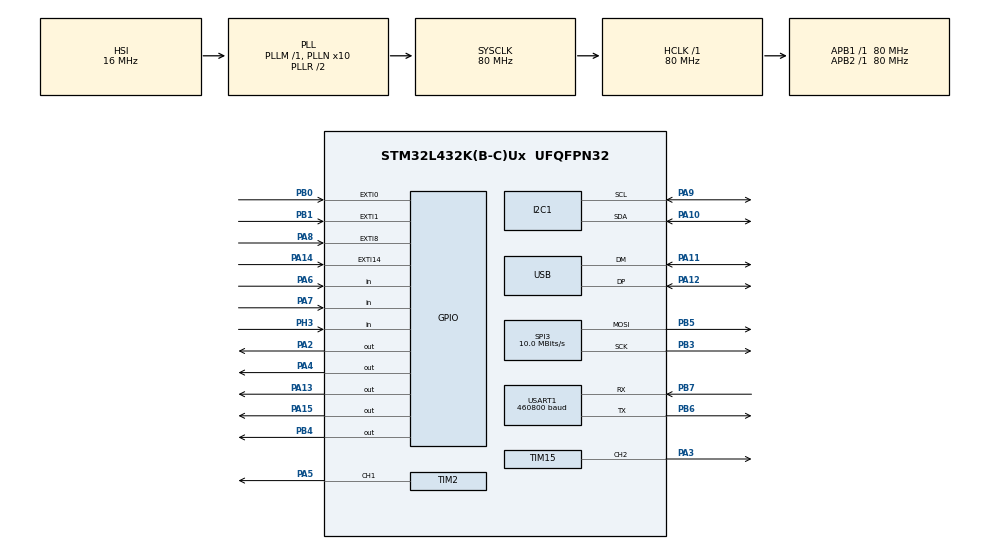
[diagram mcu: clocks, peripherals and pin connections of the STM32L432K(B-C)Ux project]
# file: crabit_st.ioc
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Dma.I2C1_RX.2.Direction=DMA_PERIPH_TO_MEMORY
Dma.I2C1_RX.2.Instance=DMA1_Channel7
Dma.I2C1_RX.2.MemDataAlignment=DMA_MDATAALIGN_BYTE
Dma.I2C1_RX.2.MemInc=DMA_MINC_ENABLE
Dma.I2C1_RX.2.Mode=DMA_NORMAL
Dma.I2C1_RX.2.PeriphDataAlignment=DMA_PDATAALIGN_BYTE
Dma.I2C1_RX.2.PeriphInc=DMA_PINC_DISABLE
Dma.I2C1_RX.2.Priority=DMA_PRIORITY_LOW
Dma.I2C1_TX.3.Direction=DMA_MEMORY_TO_PERIPH
Dma.I2C1_TX.3.Instance=DMA1_Channel6
Dma.I2C1_TX.3.MemDataAlignment=DMA_MDATAALIGN_BYTE
Dma.I2C1_TX.3.MemInc=DMA_MINC_ENABLE
Dma.I2C1_TX.3.Mode=DMA_NORMAL
Dma.I2C1_TX.3.PeriphDataAlignment=DMA_PDATAALIGN_BYTE
Dma.I2C1_TX.3.PeriphInc=DMA_PINC_DISABLE
Dma.I2C1_TX.3.Priority=DMA_PRIORITY_LOW
Dma.Request0=USART1_RX
Dma.Request1=USART1_TX
Dma.Request2=I2C1_RX
Dma.Request3=I2C1_TX
Dma.Request4=SPI3_TX
Dma.Request5=TIM2_CH1
Dma.SPI3_TX.4.Direction=DMA_MEMORY_TO_PERIPH
Dma.SPI3_TX.4.Instance=DMA2_Channel2
Dma.SPI3_TX.4.MemDataAlignment=DMA_MDATAALIGN_BYTE
Dma.SPI3_TX.4.MemInc=DMA_MINC_ENABLE
Dma.SPI3_TX.4.Mode=DMA_NORMAL
Dma.SPI3_TX.4.PeriphDataAlignment=DMA_PDATAALIGN_BYTE
Dma.SPI3_TX.4.PeriphInc=DMA_PINC_DISABLE
Dma.SPI3_TX.4.Priority=DMA_PRIORITY_LOW
Dma.TIM2_CH1.5.Direction=DMA_MEMORY_TO_PERIPH
Dma.TIM2_CH1.5.Instance=DMA1_Channel5
Dma.TIM2_CH1.5.MemDataAlignment=DMA_MDATAALIGN_WORD
Dma.TIM2_CH1.5.MemInc=DMA_MINC_ENABLE
Dma.TIM2_CH1.5.Mode=DMA_NORMAL
Dma.TIM2_CH1.5.PeriphDataAlignment=DMA_PDATAALIGN_WORD
Dma.TIM2_CH1.5.PeriphInc=DMA_PINC_DISABLE
Dma.TIM2_CH1.5.Priority=DMA_PRIORITY_LOW
Dma.USART1_RX.0.Direction=DMA_PERIPH_TO_MEMORY
Dma.USART1_RX.0.Instance=DMA2_Channel7
Dma.USART1_RX.0.MemDataAlignment=DMA_MDATAALIGN_BYTE
Dma.USART1_RX.0.MemInc=DMA_MINC_ENABLE
Dma.USART1_RX.0.Mode=DMA_CIRCULAR
Dma.USART1_RX.0.PeriphDataAlignment=DMA_PDATAALIGN_BYTE
Dma.USART1_RX.0.PeriphInc=DMA_PINC_DISABLE
Dma.USART1_RX.0.Priority=DMA_PRIORITY_LOW
Dma.USART1_TX.1.Direction=DMA_MEMORY_TO_PERIPH
Dma.USART1_TX.1.Instance=DMA1_Channel4
Dma.USART1_TX.1.MemDataAlignment=DMA_MDATAALIGN_BYTE
Dma.USART1_TX.1.MemInc=DMA_MINC_ENABLE
Dma.USART1_TX.1.Mode=DMA_NORMAL
Dma.USART1_TX.1.PeriphDataAlignment=DMA_PDATAALIGN_BYTE
Dma.USART1_TX.1.PeriphInc=DMA_PINC_DISABLE
Dma.USART1_TX.1.Priority=DMA_PRIORITY_LOW
FREERTOS.Tasks01=defaultTask,24,1024,StartDefaultTask,Default,NULL,Dynamic,NULL,NULL
FREERTOS.configTOTAL_HEAP_SIZE=40960
I2C1.Timing=0x10D19CE4
Mcu.Family=STM32L4
Mcu.Name=STM32L432K(B-C)Ux
Mcu.Package=UFQFPN32
NVIC.DMA1_Channel4_IRQn=true\:5\:0\:false\:false\:true\:true\:false\:true\:true
NVIC.DMA1_Channel5_IRQn=true\:5\:0\:false\:false\:true\:true\:false\:true\:true
NVIC.DMA1_Channel6_IRQn=true\:5\:0\:false\:false\:true\:true\:false\:true\:true
NVIC.DMA1_Channel7_IRQn=true\:5\:0\:false\:false\:true\:true\:false\:true\:true
NVIC.DMA2_Channel2_IRQn=true\:5\:0\:false\:false\:true\:true\:false\:true\:true
NVIC.DMA2_Channel7_IRQn=true\:5\:0\:false\:false\:true\:false\:false\:true\:true
NVIC.EXTI0_IRQn=true\:5\:0\:false\:false\:true\:true\:true\:true\:true
NVIC.EXTI1_IRQn=true\:5\:0\:false\:false\:true\:true\:true\:true\:true
NVIC.PriorityGroup=NVIC_PRIORITYGROUP_4
NVIC.SPI3_IRQn=true\:5\:0\:false\:false\:true\:true\:true\:true\:true
NVIC.TIM1_UP_TIM16_IRQn=true\:15\:0\:false\:false\:true\:false\:false\:true\:true
NVIC.TimeBase=TIM1_UP_TIM16_IRQn
NVIC.TimeBaseIP=TIM1
NVIC.USART1_IRQn=true\:5\:0\:false\:false\:true\:true\:true\:true\:true
NVIC.USB_IRQn=true\:5\:0\:false\:false\:true\:true\:false\:true\:true
PA10.GPIO_Pu=GPIO_PULLUP
PA10.Mode=I2C
PA10.Signal=I2C1_SDA
PA11.Mode=Device
PA11.Signal=USB_DM
PA12.Mode=Device
PA12.Signal=USB_DP
PA13\ (JTMS-SWDIO).PinState=GPIO_PIN_SET
PA13\ (JTMS-SWDIO).Signal=GPIO_Output
PA14\ (JTCK-SWCLK).Signal=GPXTI14
PA15\ (JTDI).GPIO_Speed=GPIO_SPEED_FREQ_HIGH
PA15\ (JTDI).Signal=GPIO_Output
PA2.PinState=GPIO_PIN_RESET
PA2.Signal=GPIO_Output
PA3.Signal=S_TIM15_CH2
PA4.PinState=GPIO_PIN_SET
PA4.Signal=GPIO_Output
PA5.Signal=S_TIM2_CH1
PA6.GPIO_PuPd=GPIO_PULLUP
PA6.Signal=GPIO_Input
PA7.GPIO_PuPd=GPIO_PULLUP
PA7.Signal=GPIO_Input
PA8.Signal=GPXTI8
PA9.GPIO_Pu=GPIO_PULLUP
PA9.Mode=I2C
PA9.Signal=I2C1_SCL
PB0.GPIO_PuPd=GPIO_PULLDOWN
PB0.Signal=GPXTI0
PB1.GPIO_PuPd=GPIO_PULLDOWN
PB1.Signal=GPXTI1
PB3\ (JTDO-TRACESWO).Mode=TX_Only_Simplex_Unidirect_Master
PB3\ (JTDO-TRACESWO).Signal=SPI3_SCK
PB4\ (NJTRST).GPIO_Speed=GPIO_SPEED_FREQ_HIGH
PB4\ (NJTRST).Signal=GPIO_Output
PB5.Mode=TX_Only_Simplex_Unidirect_Master
PB5.Signal=SPI3_MOSI
PB6.Mode=Asynchronous
PB6.Signal=USART1_TX
PB7.Mode=Asynchronous
PB7.Signal=USART1_RX
PC14-OSC32_IN\ (PC14).Mode=LSE-External-Oscillator
PC14-OSC32_IN\ (PC14).Signal=RCC_OSC32_IN
PC15-OSC32_OUT\ (PC15).Mode=LSE-External-Oscillator
PC15-OSC32_OUT\ (PC15).Signal=RCC_OSC32_OUT
PH3-BOOT0.GPIO_PuPd=GPIO_PULLDOWN
PH3-BOOT0.Signal=GPIO_Input
ProjectManager.HeapSize=0x200
ProjectManager.StackSize=0x400
ProjectManager.TargetToolchain=CMake
RCC.ADCCLockSelection=RCC_ADCCLKSOURCE_SYSCLK
RCC.ADCFreq_Value=80000000
RCC.AHBFreq_Value=80000000
RCC.APB1Freq_Value=80000000
RCC.APB1TimFreq_Value=80000000
RCC.APB2Freq_Value=80000000
RCC.APB2TimFreq_Value=80000000
RCC.CK48CLockSelection=RCC_USBCLKSOURCE_HSI48
RCC.CortexFreq_Value=80000000
RCC.HCLKFreq_Value=80000000
RCC.HSE_VALUE=8000000
RCC.HSI48_VALUE=48000000
RCC.HSI_VALUE=16000000
RCC.MSI_VALUE=4000000
RCC.PLLN=10
RCC.PLLSAI1N=10
RCC.PLLSourceVirtual=RCC_PLLSOURCE_HSI
RCC.SYSCLKFreq_VALUE=80000000
RCC.SYSCLKSource=RCC_SYSCLKSOURCE_PLLCLK
RCC.USBFreq_Value=48000000
RCC.VCOOutputFreq_Value=160000000
SH.S_TIM15_CH2.0=TIM15_CH2,PWM Generation2 CH2
SH.S_TIM2_CH1.0=TIM2_CH1,PWM Generation1 CH1
SPI3.BaudRatePrescaler=SPI_BAUDRATEPRESCALER_8
SPI3.CalculateBaudRate=10.0 MBits/s
SPI3.DataSize=SPI_DATASIZE_8BIT
SPI3.Direction=SPI_DIRECTION_2LINES
SPI3.Mode=SPI_MODE_MASTER
SPI3.VirtualType=VM_MASTER
TIM15.Channel-PWM\ Generation2\ CH2=TIM_CHANNEL_2
TIM15.Prescaler=79
TIM2.Channel-PWM\ Generation1\ CH1=TIM_CHANNEL_1
TIM2.Period=99
TIM2.Prescaler=0
USART1.BaudRate=460800
USART1.VirtualMode-Asynchronous=VM_ASYNC
USB_DEVICE.CLASS_NAME_FS=CDC
USB_DEVICE.VirtualMode=Cdc
USB_DEVICE.VirtualModeFS=Cdc_FS
VP_FREERTOS_VS_CMSIS_V2.Mode=CMSIS_V2
VP_RTC_VS_RTC_Activate.Mode=RTC_Enabled
VP_RTC_VS_RTC_Calendar.Mode=RTC_Calendar
VP_SYS_VS_tim1.Mode=TIM1
VP_TIM15_VS_ClockSourceINT.Mode=Internal
VP_TIM2_VS_ClockSourceINT.Mode=Internal
VP_USB_DEVICE_VS_USB_DEVICE_CDC_FS.Mode=CDC_FS
board=custom

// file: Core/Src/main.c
/* USER CODE BEGIN Header */
/**
  ******************************************************************************
  * @file           : main.c
  * @brief          : Main program body
  ******************************************************************************
  * @attention
  *
  * Copyright (c) 2026 STMicroelectronics.
  * All rights reserved.
  *
  * This software is licensed under terms that can be found in the LICENSE file
  * in the root directory of this software component.
  * If no LICENSE file comes with this software, it is provided AS-IS.
  *
  ******************************************************************************
  */
/* USER CODE END Header */
#include "main.h"
#include "cmsis_os.h"
#include "dma.h"
#include "i2c.h"
#include "rtc.h"
#include "spi.h"
#include "tim.h"
#include "usart.h"
#include "usb_device.h"
#include "gpio.h"

void SystemClock_Config(void);
void MX_FREERTOS_Init(void);

int main(void)
{

  /* MCU Configuration--------------------------------------------------------*/

  /* Reset of all peripherals, Initializes the Flash interface and the Systick. */
  HAL_Init();

  /* Configure the system clock */
  SystemClock_Config();

  /* Initialize all configured peripherals */
  MX_GPIO_Init();
  MX_DMA_Init();
  MX_I2C1_Init();
  MX_SPI3_Init();
  MX_USART1_UART_Init();
  MX_TIM2_Init();
  MX_RTC_Init();
  MX_TIM15_Init();

  /* Init scheduler */
  osKernelInitialize();

  /* Call init function for freertos objects (in cmsis_os2.c) */
  MX_FREERTOS_Init();

  /* Start scheduler */
  osKernelStart();

  /* We should never get here as control is now taken by the scheduler */

  /* Infinite loop */
  while (1)
  {

  }
}

void SystemClock_Config(void)
{
  RCC_OscInitTypeDef RCC_OscInitStruct = {0};
  RCC_ClkInitTypeDef RCC_ClkInitStruct = {0};

  /** Configure the main internal regulator output voltage
  */
  if (HAL_PWREx_ControlVoltageScaling(PWR_REGULATOR_VOLTAGE_SCALE1) != HAL_OK)
  {
    Error_Handler();
  }

  /** Initializes the RCC Oscillators according to the specified parameters
  * in the RCC_OscInitTypeDef structure.
  */
  RCC_OscInitStruct.OscillatorType = RCC_OSCILLATORTYPE_HSI48|RCC_OSCILLATORTYPE_HSI
                              |RCC_OSCILLATORTYPE_LSI;
  RCC_OscInitStruct.HSIState = RCC_HSI_ON;
  RCC_OscInitStruct.HSI48State = RCC_HSI48_ON;
  RCC_OscInitStruct.HSICalibrationValue = RCC_HSICALIBRATION_DEFAULT;
  RCC_OscInitStruct.LSIState = RCC_LSI_ON;
  RCC_OscInitStruct.PLL.PLLState = RCC_PLL_ON;
  RCC_OscInitStruct.PLL.PLLSource = RCC_PLLSOURCE_HSI;
  RCC_OscInitStruct.PLL.PLLM = 1;
  RCC_OscInitStruct.PLL.PLLN = 10;
  RCC_OscInitStruct.PLL.PLLP = RCC_PLLP_DIV7;
  RCC_OscInitStruct.PLL.PLLQ = RCC_PLLQ_DIV2;
  RCC_OscInitStruct.PLL.PLLR = RCC_PLLR_DIV2;
  if (HAL_RCC_OscConfig(&RCC_OscInitStruct) != HAL_OK)
  {
    Error_Handler();
  }

  /** Initializes the CPU, AHB and APB buses clocks
  */
  RCC_ClkInitStruct.ClockType = RCC_CLOCKTYPE_HCLK|RCC_CLOCKTYPE_SYSCLK
                              |RCC_CLOCKTYPE_PCLK1|RCC_CLOCKTYPE_PCLK2;
  RCC_ClkInitStruct.SYSCLKSource = RCC_SYSCLKSOURCE_PLLCLK;
  RCC_ClkInitStruct.AHBCLKDivider = RCC_SYSCLK_DIV1;
  RCC_ClkInitStruct.APB1CLKDivider = RCC_HCLK_DIV1;
  RCC_ClkInitStruct.APB2CLKDivider = RCC_HCLK_DIV1;

  if (HAL_RCC_ClockConfig(&RCC_ClkInitStruct, FLASH_LATENCY_4) != HAL_OK)
  {
    Error_Handler();
  }
}

void HAL_TIM_PeriodElapsedCallback(TIM_HandleTypeDef *htim)
{
  if (htim->Instance == TIM1) {
    HAL_IncTick();
  }
}

void Error_Handler(void)
{
  __disable_irq();
  while (1)
  {
  }
}

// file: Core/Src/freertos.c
/* USER CODE BEGIN Header */
/**
  ******************************************************************************
  * File Name          : freertos.c
  * Description        : Code for freertos applications
  ******************************************************************************
  * @attention
  *
  * Copyright (c) 2026 STMicroelectronics.
  * All rights reserved.
  *
  * This software is licensed under terms that can be found in the LICENSE file
  * in the root directory of this software component.
  * If no LICENSE file comes with this software, it is provided AS-IS.
  *
  ******************************************************************************
  */
/* USER CODE END Header */

#include "FreeRTOS.h"
#include "task.h"
#include "main.h"
#include "cmsis_os.h"

/* USER CODE BEGIN Includes */

#include "spi.h"
extern void NanoUI_MainLoop(void);

// OLED 控制引脚：DC=PA15，RST=PB4。
#define OLED_DC_CMD()  HAL_GPIO_WritePin(GPIOA, GPIO_PIN_15, GPIO_PIN_RESET)
#define OLED_DC_DATA() HAL_GPIO_WritePin(GPIOA, GPIO_PIN_15, GPIO_PIN_SET)
#define OLED_RST_CLR() HAL_GPIO_WritePin(GPIOB, GPIO_PIN_4, GPIO_PIN_RESET)
#define OLED_RST_SET() HAL_GPIO_WritePin(GPIOB, GPIO_PIN_4, GPIO_PIN_SET)
void OLED_Init(void);
void OLED_Fill(uint8_t data);
// 硬件上 CS 未连接，因此不提供片选宏。
// #define OLED_CS_CLR() HAL_GPIO_WritePin(GPIOB, GPIO_PIN_x, GPIO_PIN_RESET)
// #define OLED_CS_SET() HAL_GPIO_WritePin(GPIOB, GPIO_PIN_x, GPIO_PIN_SET)

void OLED_WR_Byte(uint8_t dat, uint8_t cmd) {
    if(cmd) OLED_DC_DATA();
    else    OLED_DC_CMD();

    // OLED_CS_CLR();
    HAL_SPI_Transmit(&hspi3, &dat, 1, 10);
    // OLED_CS_SET();
}

/* USER CODE END Includes */

/* Definitions for defaultTask */
osThreadId_t defaultTaskHandle;
const osThreadAttr_t defaultTask_attributes = {
  .name = "defaultTask",
  .stack_size = 1024 * 6,
  .priority = (osPriority_t) osPriorityNormal,
};

void StartDefaultTask(void *argument);

extern void MX_USB_DEVICE_Init(void);
void MX_FREERTOS_Init(void); /* (MISRA C 2004 rule 8.1) */

void MX_FREERTOS_Init(void) {

  /* Create the thread(s) */
  /* creation of defaultTask */
  defaultTaskHandle = osThreadNew(StartDefaultTask, NULL, &defaultTask_attributes);

}

void StartDefaultTask(void *argument)
{
  (void)argument;
  /* init code for USB_DEVICE */
  MX_USB_DEVICE_Init();
  /* USER CODE BEGIN StartDefaultTask */
  // 设置 PA2 电平并等待启动稳定，再初始化 OLED。
  HAL_GPIO_WritePin(GPIOA, GPIO_PIN_2,GPIO_PIN_SET);
  vTaskDelay(pdMS_TO_TICKS(500)); // 启动等待，单位为毫秒。
  OLED_Init();

  // 将屏幕内容清为黑色。
  OLED_Fill(0x00);

  // NanoUI_MainLoop() 接管该任务的 UI 循环。
  NanoUI_MainLoop();

  /* NanoUI 主循环意外返回时的后备循环。 */
  for(;;)
  {
    HAL_GPIO_TogglePin(GPIOA, GPIO_PIN_3); // 后备循环翻转 PA3。
    osDelay(500);
  }

  // =========================================================
// 以下为已停用的实验代码：STM32 交出 SPI/OLED 控制权后的引脚处理。
// =========================================================

// 1. 先给 BW16 上电并等待稳定
// HAL_GPIO_WritePin(GPIOA, GPIO_PIN_2, GPIO_PIN_SET);
// vTaskDelay(pdMS_TO_TICKS(100));

// 2. 把 STM32 侧的 OLED 相关引脚交给 BW16（旧方案）
// GPIO_InitTypeDef GPIO_InitStruct = {0};
// GPIO_InitStruct.Mode = GPIO_MODE_INPUT;
// GPIO_InitStruct.Pull = GPIO_NOPULL;

// // 涉及 PB3(SCK), PB4(RST), PB5(MOSI)
// GPIO_InitStruct.Pin = GPIO_PIN_3 | GPIO_PIN_4 | GPIO_PIN_5;
// HAL_GPIO_Init(GPIOB, &GPIO_InitStruct);

// // 以及 PA15(DC)
// GPIO_InitStruct.Pin = GPIO_PIN_15;
// HAL_GPIO_Init(GPIOA, &GPIO_InitStruct);

// // 3. 释放 SPI 外设
// HAL_SPI_DeInit(&hspi3);

// // 4. STM32 侧空转心跳
// while(1) {
//     HAL_GPIO_WritePin(GPIOA, GPIO_PIN_3, GPIO_PIN_SET);
//     vTaskDelay(pdMS_TO_TICKS(100));
//     HAL_GPIO_WritePin(GPIOA, GPIO_PIN_3, GPIO_PIN_RESET);
//     vTaskDelay(pdMS_TO_TICKS(900));
// }

  /* USER CODE END StartDefaultTask */
}

/* USER CODE BEGIN Application */

void OLED_Init(void) {
    OLED_RST_SET();
    osDelay(50);    // 上电稳定
    OLED_RST_CLR();
    osDelay(100);   // 保持复位低电平 100ms
    OLED_RST_SET();
    osDelay(100);   // 等待复位释放后的稳压
    OLED_RST_SET();

    OLED_WR_Byte(0xAE,0); // 关闭显示
    OLED_WR_Byte(0xD5,0); // 设置时钟分频
    OLED_WR_Byte(0x80,0);
    OLED_WR_Byte(0xA8,0); // 设置复用率
    OLED_WR_Byte(0x3F,0);
    OLED_WR_Byte(0xD3,0); // 设置显示偏移
    OLED_WR_Byte(0x00,0);

    // 起始行地址 (0x40)
    OLED_WR_Byte(0x40, 0); // 起始行 0

    OLED_WR_Byte(0x8D,0); // 电荷泵设置
    OLED_WR_Byte(0x14,0); // 使能电荷泵
    OLED_WR_Byte(0x20,0); // 设置内存寻址模式
    OLED_WR_Byte(0x02,0); // 页寻址模式
    OLED_WR_Byte(0xA1,0); // 段重映射 (左右镜像)
    OLED_WR_Byte(0xC8,0); // COM 扫描方向 (上下翻转)
    OLED_WR_Byte(0xDA,0); // COM 引脚配置
    OLED_WR_Byte(0x12,0);
    OLED_WR_Byte(0x81,0); // 对比度设置
    OLED_WR_Byte(0xCF,0);
    OLED_WR_Byte(0xD9,0); // 预充电周期
    OLED_WR_Byte(0xF1,0);
    OLED_WR_Byte(0xDB,0); // VCOMH 电压
    OLED_WR_Byte(0x40,0);
    OLED_WR_Byte(0xA4,0); // 恢复 RAM 内容显示
    OLED_WR_Byte(0xA6,0); // 正常显示 (非反色)
    OLED_WR_Byte(0xAF,0); // 开启显示
}

// 以给定字节填满整屏。
void OLED_Fill(uint8_t data) {
    uint8_t i, n;
    for(i=0; i<8; i++) {
        OLED_WR_Byte(0xB0+i, 0); // 页起始地址
        OLED_WR_Byte(0x00, 0);   // 列低 4 位 = 0
        OLED_WR_Byte(0x10, 0);   // 列高 4 位 = 0
        for(n=0; n<128; n++) OLED_WR_Byte(data, 1);
    }
}

/* USER CODE END Application */
